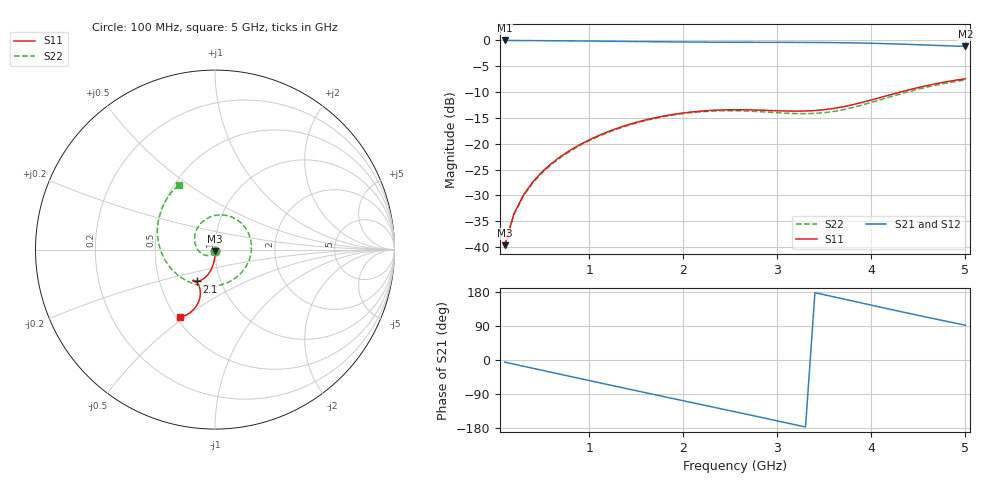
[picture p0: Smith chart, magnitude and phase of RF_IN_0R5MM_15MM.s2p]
! Created Tue Jul 13 13:06:56 2021
! List of port names and net name(s): example Port n = <port_name> <net_name1> <net_name2> ...
! Port 1 = P1 RF_IN GND GND
! Port 2 = P2 NetDD1_9 GND
# hz S ri R 50
! 2 Port Network Data from data block
! freq  reS11  imS11  reS21  imS21  reS12  imS12  reS22  imS22
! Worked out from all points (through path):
!   50 points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, 100 MHz to 5 GHz, reference 50 ohm
!   highest |S21| = -0.01 dB at 100 MHz (marker M1); lowest = -1.2 dB at 5 GHz (marker M2)
!   group delay of S21, straight-line fit = 149 ps
!   lowest |S11| = -39.7 dB at 100 MHz (marker M3), VSWR 1.02, Z = 50 - j1.04 ohm
!   |S11| at or under -10 dB: start of sweep to 4.308 GHz
!   |S22| runs from -39.8 to -7.7 dB; largest |S21 - S12| = 0
!   S11 on the Smith chart (normalised r, x): 100 MHz: 1.00, -0.02; 2.1 GHz: 0.77, -0.29; 5 GHz: 0.52, -0.48
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1e8  0.000531 -0.0104  0.9938 -0.0959  0.9938 -0.0959  -0.00124 -0.0101
2e8  0.000202 -0.0211  0.9791 -0.1896  0.9791 -0.1896  -0.00666 -0.0196
3e8  -0.000559 -0.0319  0.9556 -0.2812  0.9556 -0.2812  -0.0154 -0.0271
4e8  -0.00173 -0.0427  0.9236 -0.3698  0.9236 -0.3698  -0.0269 -0.032
7e8  -0.00804 -0.0753  0.7801 -0.6107  0.7801 -0.6107  -0.0697 -0.0251
1e9  -0.0196 -0.1073  0.576 -0.7996  0.576 -0.7996  -0.1058 0.0166
1.4e9  -0.0444 -0.1448  0.2416 -0.9469  0.2416 -0.9469  -0.1048 0.1063
1.6e9  -0.06 -0.1592  0.0619 -0.971  0.0619 -0.971  -0.0759 0.1497
1.8e9  -0.0765 -0.1696  -0.1177 -0.9617  -0.1177 -0.9617  -0.0299 0.1812
2.1e9  -0.0998 -0.1774  -0.3741 -0.888  -0.3741 -0.888  0.0587 0.1918
2.3e9  -0.1123 -0.1779  -0.5292 -0.8022  -0.5292 -0.8022  0.1186 0.1692
2.6e9  -0.1232 -0.1742  -0.7266 -0.6254  -0.7266 -0.6254  0.186 0.0929
3e9  -0.1199 -0.1707  -0.9032 -0.3174  -0.9032 -0.3174  0.1917 -0.0557
3.2e9  -0.1115 -0.1742  -0.9459 -0.1424  -0.9459 -0.1424  0.1489 -0.1272
3.4e9  -0.1008 -0.1837  -0.954 0.0387  -0.954 0.0387  0.0777 -0.1806
3.6e9  -0.0904 -0.2002  -0.9259 0.2186  -0.9259 0.2186  -0.0138 -0.205
3.8e9  -0.0831 -0.2236  -0.8621 0.3889  -0.8621 0.3889  -0.1134 -0.1931
4.2e9  -0.0888 -0.2841  -0.642 0.6689  -0.642 0.6689  -0.2777 -0.0602
4.4e9  -0.1047 -0.3155  -0.4988 0.7667  -0.4988 0.7667  -0.3165 0.0457
4.6e9  -0.1293 -0.3431  -0.3439 0.8327  -0.3439 0.8327  -0.3162 0.1608
4.8e9  -0.1606 -0.3643  -0.185 0.8676  -0.185 0.8676  -0.2767 0.2701
5e9  -0.1964 -0.377  -0.0282 0.8738  -0.0282 0.8738  -0.2029 0.3605
